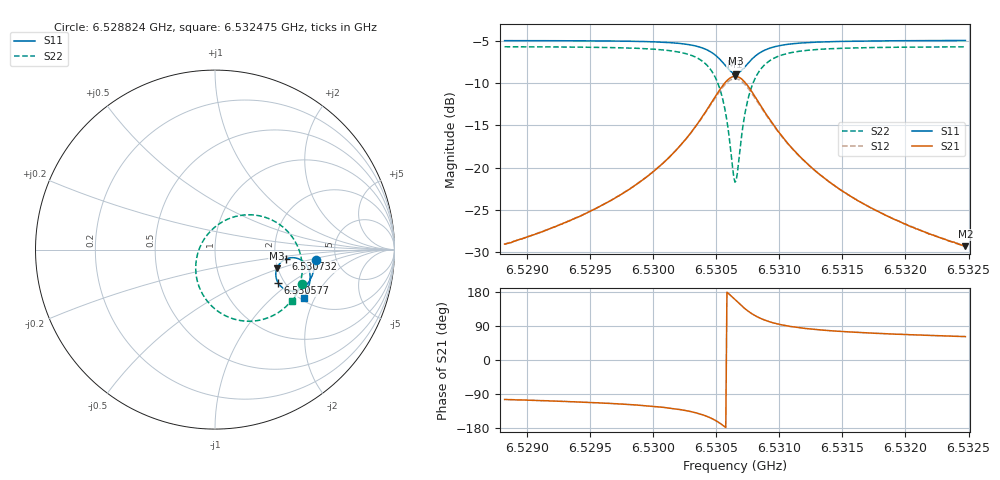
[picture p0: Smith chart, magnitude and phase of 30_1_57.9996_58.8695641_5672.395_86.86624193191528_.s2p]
#  HZ  S  RI  R  50.00
! Rohde & Schwarz Vector Network Analyzer
! Rohde-Schwarz,ZNB20-2Port,1311601062101988,3.16
! Created: UTC 3/21/2024, 12:51:38 AM
! freq[Hz]  re:S11  im:S11  re:S21  im:S21  re:S12  im:S12  re:S22  im:S22
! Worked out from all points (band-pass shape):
!   401 points, 6.528824 GHz to 6.532475 GHz, reference 50 ohm
!   highest |S21| = -9.19 dB at 6.53065 GHz (marker M1); lowest = -29.3 dB at 6.532475 GHz (marker M2)
!   |S21| within 3 dB of the highest: 6.530468 GHz to 6.530833 GHz (365 kHz wide, 0.00559 % of centre)
!   lowest |S11| = -8.9 dB at 6.530659 GHz (marker M3), VSWR 2.13, Z = 98.8 - j23.8 ohm
!   |S11| at or under -10 dB: nowhere
!   |S22| runs from -21.7 to -5.7 dB; largest |S21 - S12| = 0.015
!   S11 on the Smith chart (normalised r, x): 6.528824 GHz: 3.47, -0.60; 6.530577 GHz: 1.85, -0.82; 6.530732 GHz: 2.28, -0.29; 6.532475 GHz: 2.08, -1.66
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6.5288241e9  0.5608 -0.0593  -0.00865 -0.0341  -0.00926 -0.0339  0.482 -0.1923
6.5294357e9  0.5513 -0.1126  -0.0189 -0.0485  -0.0201 -0.0483  0.4491 -0.2542
6.5298008e9  0.5393 -0.1494  -0.0336 -0.0653  -0.0355 -0.0644  0.4107 -0.3026
6.5300473e9  0.5234 -0.1791  -0.0562 -0.0841  -0.0588 -0.0825  0.3603 -0.346
6.5302663e9  0.4931 -0.2113  -0.1034 -0.1078  -0.1069 -0.1039  0.2649 -0.3896
6.5304215e9  0.4434 -0.2308  -0.1837 -0.1147  -0.1864 -0.1064  0.1178 -0.3903
6.5305128e9  0.3915 -0.2219  -0.2648 -0.0808  -0.2632 -0.0689  -0.0162 -0.3164
6.5305493e9  0.3682 -0.2057  -0.2999 -0.046  -0.2947 -0.0337  -0.068 -0.2504
6.5305767e9  0.3526 -0.1868  -0.3215 -0.00905  -0.3132 0.00267  -0.0963 -0.1839
6.5306315e9  0.3388 -0.1339  -0.3337 0.0879  -0.3205 0.0947  -0.0963 -0.0215
6.5306497e9  0.3417 -0.1145  -0.3249 0.122  -0.3112 0.1262  -0.0752 0.0324
6.5306588e9  0.3447 -0.105  -0.3179 0.1384  -0.3043 0.1412  -0.0607 0.0577
6.5306771e9  0.3534 -0.0876  -0.2996 0.1682  -0.2864 0.1687  -0.0249 0.103
6.5306954e9  0.3652 -0.0727  -0.2766 0.1933  -0.2645 0.1917  0.0176 0.1396
6.5307319e9  0.3945 -0.0527  -0.2228 0.2262  -0.2136 0.2222  0.112 0.1841
6.5307958e9  0.4448 -0.0458  -0.1343 0.2366  -0.1299 0.2322  0.2616 0.1852
6.530887e9  0.4915 -0.0661  -0.0552 0.205  -0.0534 0.2027  0.3911 0.1149
6.531024e9  0.5202 -0.1039  -0.00658 0.1524  -0.00522 0.1514  0.4645 0.00791
6.5312613e9  0.5301 -0.151  0.015 0.0982  0.0161 0.0977  0.4863 -0.1047
6.5315077e9  0.5272 -0.1843  0.0187 0.0695  0.0197 0.0694  0.4797 -0.1694
6.5318729e9  0.5174 -0.2212  0.0184 0.0476  0.0192 0.0474  0.4615 -0.2279
6.5324753e9  0.4967 -0.2702  0.0162 0.0302  0.0168 0.0299  0.4303 -0.289
